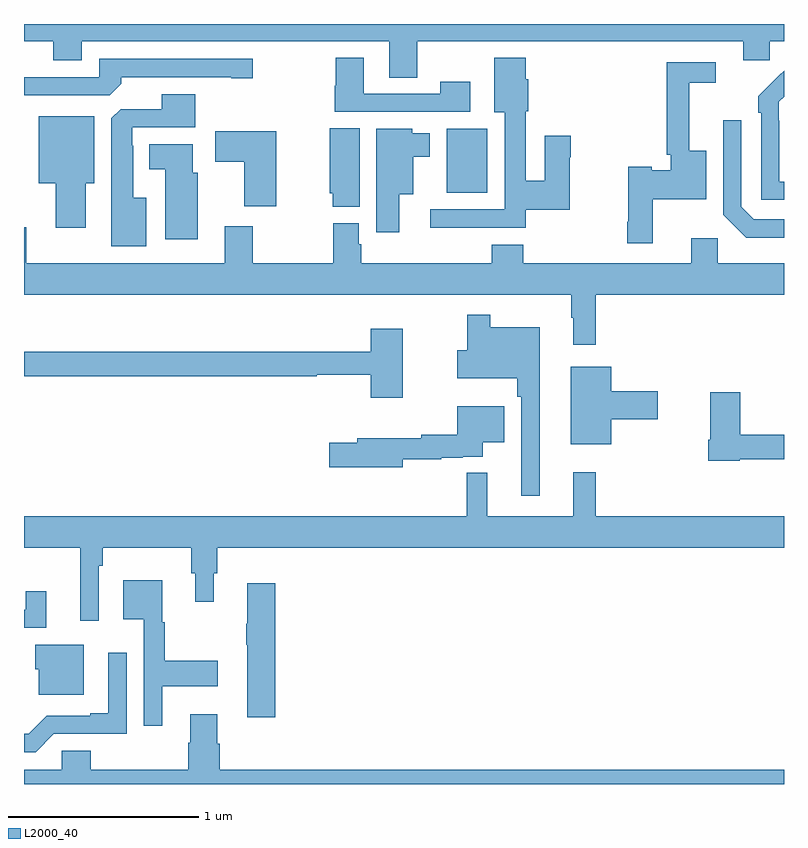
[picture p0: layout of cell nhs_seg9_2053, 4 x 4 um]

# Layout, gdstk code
import gdstk
lib = gdstk.Library(unit=1e-6, precision=1e-09)
def R(c, l, rs):  # rectangles x0, y0, x1, y1
    for r in rs: c.add(gdstk.rectangle(r[:2], r[2:], *l))
def P(c, l, *ps):  # polygons
    for p in ps: c.add(gdstk.Polygon(p, *l))
L2000_40 = (2000, 40)

nhs_seg9_2053 = lib.new_cell('nhs_seg9_2053')
R(nhs_seg9_2053, L2000_40, [(229.226,1207.613,229.438,1207.948)])
P(nhs_seg9_2053, L2000_40, [(229.071,1208.408),(230.786,1208.408),(230.786,1208.31),(230.925,1208.31),(230.925,1208.408),(231,1208.408),(231,1208.5),(227,1208.5),(227,1208.408),(227.153,1208.408),(227.153,1208.309),(227.305,1208.309),(227.305,1208.408),(228.923,1208.408),(228.923,1208.218),(229.071,1208.218)],
  [(229.348,1208.197),(229.192,1208.197),(229.192,1208.133),(228.787,1208.133),(228.787,1208.323),(228.64,1208.323),(228.64,1208.175),(228.635,1208.175),(228.635,1208.037),(229.348,1208.037)],
  [(229.642,1207.523),(229.872,1207.523),(229.872,1207.799),(229.877,1207.799),(229.877,1207.912),(229.742,1207.912),(229.742,1207.676),(229.642,1207.676),(229.642,1208.04),(229.655,1208.04),(229.655,1208.21),(229.642,1208.21),(229.642,1208.323),(229.475,1208.323),(229.475,1208.036),(229.529,1208.036),(229.529,1207.524),(229.137,1207.524),(229.137,1207.427),(229.642,1207.427)],
  [(227.513,1208.186),(227.513,1208.22),(228.092,1208.22),(228.092,1208.215),(228.205,1208.215),(228.205,1208.316),(227.397,1208.316),(227.397,1208.22),(227,1208.22),(227,1208.124),(227.451,1208.124)],
  [(230.308,1207.577),(230.59,1207.577),(230.59,1207.834),(230.501,1207.834),(230.501,1208.19),(230.641,1208.19),(230.641,1208.298),(230.383,1208.298),(230.383,1207.813),(230.403,1207.813),(230.403,1207.73),(230.304,1207.73),(230.304,1207.748),(230.179,1207.748),(230.179,1207.459),(230.174,1207.459),(230.174,1207.347),(230.308,1207.347)],
  [(231,1207.671),(230.976,1207.671),(230.976,1207.991),(230.973,1207.991),(230.973,1208.091),(231,1208.118),(231,1208.254),(230.971,1208.225),(230.97,1208.226),(230.865,1208.121),(230.865,1208.033),(230.88,1208.033),(230.88,1207.575),(231,1207.575)],
  [(227.644,1207.585),(227.575,1207.585),(227.575,1207.859),(227.571,1207.859),(227.571,1207.956),(227.902,1207.956),(227.902,1208.131),(227.726,1208.131),(227.726,1208.052),(227.508,1208.052),(227.459,1208.003),(227.459,1207.331),(227.644,1207.331)],
  [(227.326,1207.661),(227.371,1207.661),(227.371,1208.014),(227.078,1208.014),(227.078,1207.661),(227.168,1207.661),(227.168,1207.428),(227.326,1207.428)],
  [(231,1207.473),(230.841,1207.473),(230.775,1207.539),(230.775,1207.993),(230.679,1207.993),(230.679,1207.497),(230.8,1207.376),(231,1207.376)],
  [(228.766,1207.952),(228.608,1207.952),(228.608,1207.608),(228.625,1207.608),(228.625,1207.537),(228.766,1207.537)],
  [(228.976,1207.604),(229.048,1207.604),(229.048,1207.802),(229.135,1207.802),(229.135,1207.924),(229.044,1207.924),(229.044,1207.948),(228.854,1207.948),(228.854,1207.404),(228.976,1207.404)],
  [(228.328,1207.936),(228.006,1207.936),(228.006,1207.774),(228.158,1207.774),(228.158,1207.541),(228.328,1207.541)],
  [(227.914,1207.716),(227.887,1207.716),(227.887,1207.867),(227.66,1207.867),(227.66,1207.736),(227.744,1207.736),(227.744,1207.368),(227.914,1207.368)],
  [(230.009,1207.076),(231,1207.076),(231,1207.24),(230.652,1207.24),(230.652,1207.372),(230.513,1207.372),(230.513,1207.24),(229.628,1207.24),(229.628,1207.339),(229.463,1207.339),(229.463,1207.24),(228.776,1207.24),(228.776,1207.341),(228.763,1207.341),(228.763,1207.452),(228.628,1207.452),(228.628,1207.24),(228.204,1207.24),(228.204,1207.435),(228.056,1207.435),(228.056,1207.24),(227.011,1207.24),(227.011,1207.429),(227,1207.429),(227,1207.076),(229.881,1207.076),(229.881,1206.953),(229.892,1206.953),(229.892,1206.813),(230.009,1206.813)],
  [(229.714,1206.904),(229.453,1206.904),(229.453,1206.97),(229.332,1206.97),(229.332,1206.783),(229.28,1206.783),(229.28,1206.635),(229.597,1206.635),(229.597,1206.539),(229.617,1206.539),(229.617,1206.018),(229.714,1206.018)],
  [(228.994,1206.895),(228.824,1206.895),(228.824,1206.775),(227,1206.775),(227,1206.646),(228.54,1206.646),(228.54,1206.654),(228.824,1206.654),(228.824,1206.534),(228.994,1206.534)],
  [(230.092,1206.419),(230.335,1206.419),(230.335,1206.566),(230.092,1206.566),(230.092,1206.697),(229.877,1206.697),(229.877,1206.287),(230.092,1206.287)],
  [(230.766,1206.21),(231,1206.21),(231,1206.338),(230.77,1206.338),(230.77,1206.562),(230.612,1206.562),(230.612,1206.313),(230.6,1206.313),(230.6,1206.202),(230.766,1206.202)],
  [(228.994,1206.21),(229.196,1206.21),(229.196,1206.216),(229.31,1206.216),(229.31,1206.222),(229.414,1206.222),(229.414,1206.299),(229.528,1206.299),(229.528,1206.487),(229.28,1206.487),(229.28,1206.338),(229.09,1206.338),(229.09,1206.32),(228.755,1206.32),(228.755,1206.297),(228.606,1206.297),(228.606,1206.167),(228.994,1206.167)],
  [(227.394,1205.648),(227.414,1205.648),(227.414,1205.744),(227.881,1205.744),(227.881,1205.61),(227.9,1205.61),(227.9,1205.46),(227.998,1205.46),(227.998,1205.61),(228.017,1205.61),(228.017,1205.744),(231,1205.744),(231,1205.908),(230.009,1205.908),(230.009,1206.142),(229.892,1206.142),(229.892,1205.908),(229.439,1205.908),(229.439,1206.137),(229.33,1206.137),(229.33,1205.908),(227,1205.908),(227,1205.744),(227.297,1205.744),(227.297,1205.358),(227.394,1205.358)],
  [(227.728,1205.015),(228.019,1205.015),(228.019,1205.15),(227.74,1205.15),(227.74,1205.351),(227.728,1205.351),(227.728,1205.572),(227.522,1205.572),(227.522,1205.366),(227.631,1205.366),(227.631,1204.806),(227.728,1204.806)],
  [(228.323,1205.557),(228.176,1205.557),(228.176,1205.344),(228.169,1205.344),(228.169,1205.233),(228.176,1205.233),(228.176,1204.851),(228.323,1204.851)],
  [(227.117,1205.515),(227.008,1205.515),(227.008,1205.418),(227,1205.418),(227,1205.322),(227.117,1205.322)],
  [(227.314,1205.233),(227.06,1205.233),(227.06,1205.103),(227.078,1205.103),(227.078,1204.97),(227.314,1204.97)],
  [(227.157,1204.764),(227.541,1204.764),(227.541,1205.191),(227.444,1205.191),(227.444,1204.873),(227.348,1204.873),(227.348,1204.86),(227.121,1204.86),(227.025,1204.764),(227,1204.764),(227,1204.668),(227.061,1204.668)],
  [(231,1204.576),(228.029,1204.576),(228.029,1204.713),(228.016,1204.713),(228.016,1204.867),(227.876,1204.867),(227.876,1204.718),(227.864,1204.718),(227.864,1204.576),(227.351,1204.576),(227.351,1204.674),(227.199,1204.674),(227.199,1204.576),(227,1204.576),(227,1204.5),(231,1204.5)])

lib.write_gds('nhs_seg9_2053.gds')
